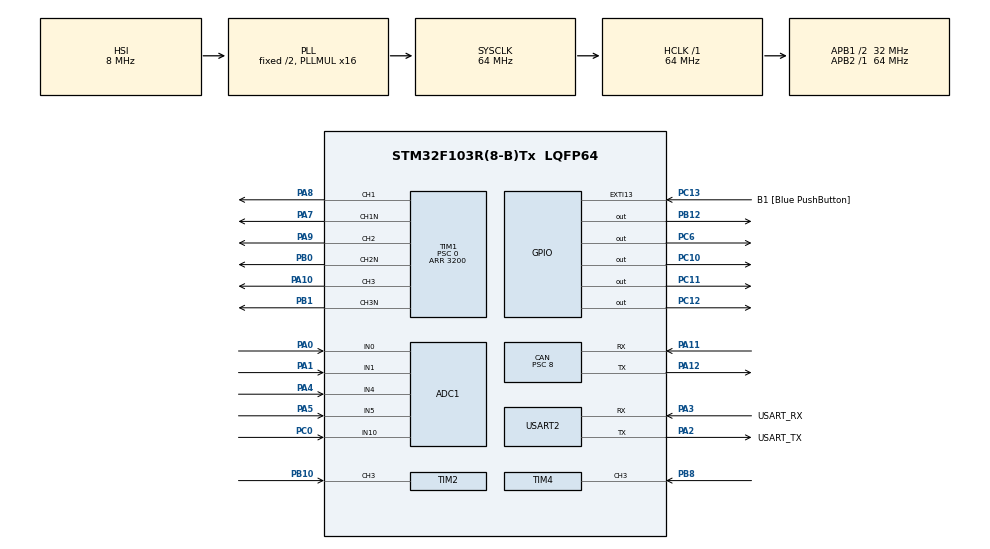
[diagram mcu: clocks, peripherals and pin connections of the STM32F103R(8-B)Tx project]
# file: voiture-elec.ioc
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ADC1.Channel-74\#ChannelRegularConversion=ADC_CHANNEL_0
ADC1.Channel-75\#ChannelRegularConversion=ADC_CHANNEL_1
ADC1.Channel-76\#ChannelRegularConversion=ADC_CHANNEL_4
ADC1.Channel-77\#ChannelRegularConversion=ADC_CHANNEL_5
ADC1.Channel-78\#ChannelRegularConversion=ADC_CHANNEL_10
ADC1.ContinuousConvMode=ENABLE
ADC1.DataAlign=ADC_DATAALIGN_RIGHT
ADC1.DiscontinuousConvMode=DISABLE
ADC1.EnableAnalogWatchDog=false
ADC1.EnableRegularConversion=ENABLE
ADC1.ExternalTrigConv=ADC_SOFTWARE_START
ADC1.InjNumberOfConversion=0
ADC1.NbrOfConversion=5
ADC1.NbrOfConversionFlag=1
ADC1.Rank-74\#ChannelRegularConversion=1
ADC1.Rank-75\#ChannelRegularConversion=2
ADC1.Rank-76\#ChannelRegularConversion=3
ADC1.Rank-77\#ChannelRegularConversion=4
ADC1.Rank-78\#ChannelRegularConversion=5
ADC1.SamplingTime-74\#ChannelRegularConversion=ADC_SAMPLETIME_1CYCLE_5
ADC1.SamplingTime-75\#ChannelRegularConversion=ADC_SAMPLETIME_1CYCLE_5
ADC1.SamplingTime-76\#ChannelRegularConversion=ADC_SAMPLETIME_1CYCLE_5
ADC1.SamplingTime-77\#ChannelRegularConversion=ADC_SAMPLETIME_1CYCLE_5
ADC1.SamplingTime-78\#ChannelRegularConversion=ADC_SAMPLETIME_1CYCLE_5
ADC1.ScanConvMode=ADC_SCAN_ENABLE
ADC1.master=1
CAN.BS1=CAN_BS1_7TQ
CAN.BS2=CAN_BS2_2TQ
CAN.CalculateTimeBit=2500
CAN.CalculateTimeQuantum=250.0
CAN.Prescaler=8
Dma.ADC1.0.Direction=DMA_PERIPH_TO_MEMORY
Dma.ADC1.0.Instance=DMA1_Channel1
Dma.ADC1.0.MemDataAlignment=DMA_MDATAALIGN_WORD
Dma.ADC1.0.MemInc=DMA_MINC_ENABLE
Dma.ADC1.0.Mode=DMA_CIRCULAR
Dma.ADC1.0.PeriphDataAlignment=DMA_PDATAALIGN_WORD
Dma.ADC1.0.PeriphInc=DMA_PINC_DISABLE
Dma.ADC1.0.Priority=DMA_PRIORITY_LOW
Dma.Request0=ADC1
Mcu.Family=STM32F1
Mcu.Name=STM32F103R(8-B)Tx
Mcu.Package=LQFP64
NVIC.DMA1_Channel1_IRQn=true\:0\:0\:false\:false\:true\:true
NVIC.PriorityGroup=NVIC_PRIORITYGROUP_4
NVIC.TIM2_IRQn=true\:0\:0\:false\:false\:true\:true
NVIC.TIM4_IRQn=true\:0\:0\:false\:false\:true\:true
NVIC.USB_LP_CAN1_RX0_IRQn=true\:0\:0\:false\:false\:true\:true
PA0-WKUP.Signal=ADCx_IN0
PA1.Signal=ADCx_IN1
PA10.Signal=S_TIM1_CH3
PA11.Mode=Master
PA11.Signal=CAN_RX
PA12.Mode=Master
PA12.Signal=CAN_TX
PA13.GPIO_Label=TMS
PA13.Mode=Serial_Wire
PA13.Signal=SYS_JTMS-SWDIO
PA14.GPIO_Label=TCK
PA14.Mode=Serial_Wire
PA14.Signal=SYS_JTCK-SWCLK
PA2.GPIO_Label=USART_TX
PA2.GPIO_Mode=GPIO_MODE_AF_PP
PA2.GPIO_PuPd=GPIO_NOPULL
PA2.GPIO_Speed=GPIO_SPEED_FREQ_LOW
PA2.Mode=Asynchronous
PA2.Signal=USART2_TX
PA3.GPIO_Label=USART_RX
PA3.GPIO_Mode=GPIO_MODE_AF_PP
PA3.GPIO_PuPd=GPIO_NOPULL
PA3.GPIO_Speed=GPIO_SPEED_FREQ_LOW
PA3.Mode=Asynchronous
PA3.Signal=USART2_RX
PA4.Signal=ADCx_IN4
PA5.Signal=ADCx_IN5
PA7.Mode=PWM Generation1 CH1 CH1N
PA7.Signal=TIM1_CH1N
PA8.Signal=S_TIM1_CH1
PA9.Signal=S_TIM1_CH2
PB0.Mode=PWM Generation2 CH2 CH2N
PB0.Signal=TIM1_CH2N
PB1.Mode=PWM Generation3 CH3 CH3N
PB1.Signal=TIM1_CH3N
PB10.Signal=S_TIM2_CH3
PB12.Signal=GPIO_Output
PB3.GPIO_Label=SWO
PB3.Signal=SYS_JTDO-TRACESWO
PB8.Signal=S_TIM4_CH3
PC0.Signal=ADCx_IN10
PC10.Signal=GPIO_Output
PC11.Signal=GPIO_Output
PC12.Signal=GPIO_Output
PC13-TAMPER-RTC.GPIO_Label=B1 [Blue PushButton]
PC13-TAMPER-RTC.GPIO_PuPd=GPIO_NOPULL
PC13-TAMPER-RTC.Signal=GPXTI13
PC14-OSC32_IN.Mode=LSE-External-Oscillator
PC14-OSC32_IN.Signal=RCC_OSC32_IN
PC15-OSC32_OUT.Mode=LSE-External-Oscillator
PC15-OSC32_OUT.Signal=RCC_OSC32_OUT
PC6.Signal=GPIO_Output
PD0-OSC_IN.Mode=HSE-External-Clock-Source
PD0-OSC_IN.Signal=RCC_OSC_IN
PD1-OSC_OUT.Mode=HSE-External-Clock-Source
PD1-OSC_OUT.Signal=RCC_OSC_OUT
ProjectManager.HeapSize=0x200
ProjectManager.StackSize=0x400
ProjectManager.TargetToolchain=MDK-ARM V5
RCC.ADCPresc=RCC_ADCPCLK2_DIV8
RCC.AHBFreq_Value=64000000
RCC.APB1CLKDivider=RCC_HCLK_DIV2
RCC.APB1Freq_Value=32000000
RCC.APB1TimFreq_Value=64000000
RCC.APB2Freq_Value=64000000
RCC.APB2TimFreq_Value=64000000
RCC.HCLKFreq_Value=64000000
RCC.PLLMUL=RCC_PLL_MUL16
RCC.RTCClockSelection=RCC_RTCCLKSOURCE_LSE
RCC.SYSCLKFreq_VALUE=64000000
RCC.SYSCLKSource=RCC_SYSCLKSOURCE_PLLCLK
RCC.USBFreq_Value=64000000
SH.ADCx_IN0.0=ADC1_IN0,IN0
SH.ADCx_IN1.0=ADC1_IN1,IN1
SH.ADCx_IN10.0=ADC1_IN10,IN10
SH.ADCx_IN4.0=ADC1_IN4,IN4
SH.ADCx_IN5.0=ADC1_IN5,IN5
SH.S_TIM1_CH1.0=TIM1_CH1,PWM Generation1 CH1 CH1N
SH.S_TIM1_CH2.0=TIM1_CH2,PWM Generation2 CH2 CH2N
SH.S_TIM1_CH3.0=TIM1_CH3,PWM Generation3 CH3 CH3N
SH.S_TIM2_CH3.0=TIM2_CH3,Input_Capture3_from_TI3
SH.S_TIM4_CH3.0=TIM4_CH3,Input_Capture3_from_TI3
TIM1.Channel-PWM\ Generation1\ CH1\ CH1N=TIM_CHANNEL_1
TIM1.Channel-PWM\ Generation2\ CH2\ CH2N=TIM_CHANNEL_2
TIM1.Channel-PWM\ Generation3\ CH3\ CH3N=TIM_CHANNEL_3
TIM1.OCNPolarity_1=TIM_OCNPOLARITY_HIGH
TIM1.Period=3200
TIM1.Prescaler=0
TIM1.Pulse-PWM\ Generation1\ CH1\ CH1N=320
TIM1.Pulse-PWM\ Generation2\ CH2\ CH2N=1600
TIM1.Pulse-PWM\ Generation3\ CH3\ CH3N=1600
TIM1.RepetitionCounter=0
TIM2.Channel-Input_Capture3_from_TI3=TIM_CHANNEL_3
TIM2.Period=65535
TIM2.Prescaler=6399
TIM4.Channel-Input_Capture3_from_TI3=TIM_CHANNEL_3
TIM4.Period=65535
TIM4.Prescaler=6399
USART2.VirtualMode=VM_ASYNC
VP_TIM2_VS_ClockSourceINT.Mode=Internal
VP_TIM4_VS_ClockSourceINT.Mode=Internal
board=NUCLEO-F103RB

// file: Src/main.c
/**
  ******************************************************************************
  * @file           : main.c
  * @brief          : Main program body
  ******************************************************************************
  ** This notice applies to any and all portions of this file
  * that are not between comment pairs USER CODE BEGIN and
  * USER CODE END. Other portions of this file, whether
  * inserted by the user or by software development tools
  * are owned by their respective copyright owners.
  *
  * COPYRIGHT(c) 2018 STMicroelectronics
  *
  * Redistribution and use in source and binary forms, with or without modification,
  * are permitted provided that the following conditions are met:
  *   1. Redistributions of source code must retain the above copyright notice,
  *      this list of conditions and the following disclaimer.
  *   2. Redistributions in binary form must reproduce the above copyright notice,
  *      this list of conditions and the following disclaimer in the documentation
  *      and/or other materials provided with the distribution.
  *   3. Neither the name of STMicroelectronics nor the names of its contributors
  *      may be used to endorse or promote products derived from this software
  *      without specific prior written permission.
  *
  * THIS SOFTWARE IS PROVIDED BY THE COPYRIGHT HOLDERS AND CONTRIBUTORS "AS IS"
  * AND ANY EXPRESS OR IMPLIED WARRANTIES, INCLUDING, BUT NOT LIMITED TO, THE
  * IMPLIED WARRANTIES OF MERCHANTABILITY AND FITNESS FOR A PARTICULAR PURPOSE ARE
  * DISCLAIMED. IN NO EVENT SHALL THE COPYRIGHT HOLDER OR CONTRIBUTORS BE LIABLE
  * FOR ANY DIRECT, INDIRECT, INCIDENTAL, SPECIAL, EXEMPLARY, OR CONSEQUENTIAL
  * DAMAGES (INCLUDING, BUT NOT LIMITED TO, PROCUREMENT OF SUBSTITUTE GOODS OR
  * SERVICES; LOSS OF USE, DATA, OR PROFITS; OR BUSINESS INTERRUPTION) HOWEVER
  * CAUSED AND ON ANY THEORY OF LIABILITY, WHETHER IN CONTRACT, STRICT LIABILITY,
  * OR TORT (INCLUDING NEGLIGENCE OR OTHERWISE) ARISING IN ANY WAY OUT OF THE USE
  * OF THIS SOFTWARE, EVEN IF ADVISED OF THE POSSIBILITY OF SUCH DAMAGE.
  *
  ******************************************************************************
  */
#include "main.h"
#include "stm32f1xx_hal.h"
#include "adc.h"
#include "can.h"
#include "dma.h"
#include "tim.h"
#include "usart.h"
#include "gpio.h"

/* USER CODE BEGIN PV */
/* Private variables ---------------------------------------------------------*/
int UPDATE_CMD_FLAG = 0;
int SEND_CAN = 0;
int UPDATE_STE_INFO = 0;

/* Tous ADC sur 12 bits pleine echelle 3.3V
	ADCBUF[0] mesure batterie
	ADCBUF[1] angle volant
	ADCBUF[2] I moteur arriere gauche
	ADCBUF[3] I moteur arriere droit
	ADCBUF[4] I moteur avant
*/
uint32_t ADCBUF[5];

int cmdLRM = 50, cmdRRM = 50, cmdSFM = 50; // 0 à 100 Moteur gauche, droit, avant

uint32_t VMG_mes = 0, VMD_mes = 0, per_vitesseG = 0, per_vitesseD = 0;
//int	volatile i=0;
/* Enable Moteurs */
GPIO_PinState en_MARG = GPIO_PIN_RESET;
GPIO_PinState en_MARD = GPIO_PIN_RESET;
GPIO_PinState en_MAV  = GPIO_PIN_RESET;
/*********************************Informations rotation volant********************************/
/* mesure angulaire potentiometre amplitudes volant +/- 17 % environ autour du centre        */
/* PWM = 0.5 (50) % arret, PWM = 0.4 tourne gauche, PWM = 0.6 tourne droite                  */
/*butees potar  volant :                                                                         */
//#define gauche_volant 2446 /*2395*/
//#define centre_volant (gauche_volant+droite_volant)/2/*2056*/
//#define droite_volant 1840/*1825*/

CanTxMsgTypeDef TxMessage;
CanRxMsgTypeDef RxMessage;
uint8_t data[8] = {0x11, 0x22, 0x33, 0x44, 0x55, 0x66, 0x77, 0x88};

extern CAN_HandleTypeDef hcan;

/* USER CODE END PV */

void SystemClock_Config(void);

/* USER CODE BEGIN PFP */
/* Private function prototypes -----------------------------------------------*/

/* USER CODE END PFP */

/* USER CODE BEGIN 0 */
void HAL_TIM_PeriodElapsedCallback(TIM_HandleTypeDef *htim){
	if (htim->Instance==TIM2)
	{
		VMG_mes = 0;
	} else if (htim->Instance==TIM4){
		VMD_mes = 0;
	}
}

void HAL_TIM_IC_CaptureCallback(TIM_HandleTypeDef *htim)
{
	/***               Mesures des vitesses moteurs                      ***
	* Féquences entrées micro, sorties capteurs, entre environ 2hz à 80 hz *
	* Timer 2,4 sur 16 bits (65535)cp ->compte période 9999 pour 1s (1Hz)  *
	*                               ->compte période 1000 pour 0.1s (10Hz) *
	* Rapport réduction 2279/64 ~ 36 impulsions/tour de roue               *
	* unite de 0.01*tr/mn = 168495/ cp                                     *
	*/
	if (htim->Instance==TIM2)
	{
		per_vitesseG =	HAL_TIM_ReadCapturedValue (&htim2,TIM_CHANNEL_3);//PB10
		VMG_mes = 1684949/per_vitesseG ;// X 0.01 tr/mn

		__HAL_TIM_SET_COUNTER(&htim2,0);// mise a zero compteur apres capture
	}
	if (htim->Instance==TIM4)
	{
		per_vitesseD =	HAL_TIM_ReadCapturedValue (&htim4,TIM_CHANNEL_3);//PB8
		VMD_mes = 1684949/per_vitesseD ;// X 0.01 tr/mn

		__HAL_TIM_SET_COUNTER(&htim4,0);// mise a zero compteur apres capture
	}
}

/* USER CODE END 0 */

int main(void)
{
  /* USER CODE BEGIN 1 */
	hcan.pTxMsg = &TxMessage;
	hcan.pRxMsg = &RxMessage;
  /* USER CODE END 1 */

  /* MCU Configuration----------------------------------------------------------*/

  /* Reset of all peripherals, Initializes the Flash interface and the Systick. */
  HAL_Init();

  /* Configure the system clock */
  SystemClock_Config();

  /* Initialize all configured peripherals */
  MX_GPIO_Init();
  MX_DMA_Init();
  MX_USART2_UART_Init();
  MX_TIM1_Init();
  MX_TIM2_Init();
  MX_TIM4_Init();
  MX_ADC1_Init();
  MX_CAN_Init();
  /* USER CODE BEGIN 2 */

  /* Initialisations */

	/*gestion systic 1Khz*/

	//uint32_t usTicks = HAL_RCC_GetSysClockFreq() / 1000;
	// HAL_SYSTICK_Config(usTicks);

  /* PWM MOTEURS */
	HAL_TIM_PWM_Start(&htim1, TIM_CHANNEL_1);
	HAL_TIM_PWM_Start(&htim1, TIM_CHANNEL_2);
	HAL_TIM_PWM_Start(&htim1, TIM_CHANNEL_3);

	//Sorties complementaires
	HAL_TIMEx_OCN_Start(&htim1,TIM_CHANNEL_1);
	HAL_TIMEx_OCN_Start(&htim1,TIM_CHANNEL_2);
	HAL_TIMEx_OCN_Start(&htim1,TIM_CHANNEL_3);
	/*Vitesse*/
	__HAL_TIM_ENABLE_IT(&htim2, TIM_IT_UPDATE);
	__HAL_TIM_ENABLE_IT(&htim4, TIM_IT_UPDATE);
  HAL_TIM_IC_Start_IT (&htim2,TIM_CHANNEL_3);//autorisation IT capture CH3
  HAL_TIM_IC_Start_IT (&htim4,TIM_CHANNEL_3);//autorisation IT capture CH3

  /* ADC1 */
  HAL_ADC_Start_DMA (&hadc1,ADCBUF,5);

	/* CAN */
	CAN_FilterConfig();
	__HAL_CAN_ENABLE_IT(&hcan, CAN_IT_FMP0);

	init_steering();
	/* USER CODE END 2 */

  /* Infinite loop */
  while (1)
  {

  /* USER CODE BEGIN 3 */

		/* Update motors command*/
		if (UPDATE_CMD_FLAG){
			UPDATE_CMD_FLAG = 0;

			wheels_set_speed(en_MARD, en_MARG, cmdRRM, cmdLRM);
			position_cmd(en_MAV, cmdSFM);
		}

		/* CAN */
		// Envoi des mesures
		if (SEND_CAN){
			SEND_CAN = 0;
			data[0] = (ADCBUF[1] >> 8) & 0xFF; // Vol_mes
			data[1] = ADCBUF[1] & 0xFF;

			data[2] = (ADCBUF[0] >> 8) & 0xFF; // Bat_mes
			data[3] = ADCBUF[0] & 0xFF;

			data[4] = (VMG_mes >> 8) & 0xFF; // VMG_mes
			data[5] = VMG_mes & 0xFF;

			data[6] = (VMD_mes >> 8) & 0xFF; // VMD_mes
			data[7] = VMD_mes & 0xFF;

			CAN_Send(data, CAN_ID_MS);
		}

		if(UPDATE_STE_INFO){
			UPDATE_STE_INFO = 0;
			STEE_setCanMess(data);
			CAN_Send(data, 0x300);
		}
  }
  /* USER CODE END 3 */

}

void SystemClock_Config(void)
{

  RCC_OscInitTypeDef RCC_OscInitStruct;
  RCC_ClkInitTypeDef RCC_ClkInitStruct;
  RCC_PeriphCLKInitTypeDef PeriphClkInit;

    /**Initializes the CPU, AHB and APB busses clocks
    */
  RCC_OscInitStruct.OscillatorType = RCC_OSCILLATORTYPE_HSI;
  RCC_OscInitStruct.HSIState = RCC_HSI_ON;
  RCC_OscInitStruct.HSICalibrationValue = 16;
  RCC_OscInitStruct.PLL.PLLState = RCC_PLL_ON;
  RCC_OscInitStruct.PLL.PLLSource = RCC_PLLSOURCE_HSI_DIV2;
  RCC_OscInitStruct.PLL.PLLMUL = RCC_PLL_MUL16;
  if (HAL_RCC_OscConfig(&RCC_OscInitStruct) != HAL_OK)
  {
    _Error_Handler(__FILE__, __LINE__);
  }

    /**Initializes the CPU, AHB and APB busses clocks
    */
  RCC_ClkInitStruct.ClockType = RCC_CLOCKTYPE_HCLK|RCC_CLOCKTYPE_SYSCLK
                              |RCC_CLOCKTYPE_PCLK1|RCC_CLOCKTYPE_PCLK2;
  RCC_ClkInitStruct.SYSCLKSource = RCC_SYSCLKSOURCE_PLLCLK;
  RCC_ClkInitStruct.AHBCLKDivider = RCC_SYSCLK_DIV1;
  RCC_ClkInitStruct.APB1CLKDivider = RCC_HCLK_DIV2;
  RCC_ClkInitStruct.APB2CLKDivider = RCC_HCLK_DIV1;

  if (HAL_RCC_ClockConfig(&RCC_ClkInitStruct, FLASH_LATENCY_2) != HAL_OK)
  {
    _Error_Handler(__FILE__, __LINE__);
  }

  PeriphClkInit.PeriphClockSelection = RCC_PERIPHCLK_ADC;
  PeriphClkInit.AdcClockSelection = RCC_ADCPCLK2_DIV8;
  if (HAL_RCCEx_PeriphCLKConfig(&PeriphClkInit) != HAL_OK)
  {
    _Error_Handler(__FILE__, __LINE__);
  }

    /**Configure the Systick interrupt time
    */
  HAL_SYSTICK_Config(HAL_RCC_GetHCLKFreq()/1000);

    /**Configure the Systick
    */
  HAL_SYSTICK_CLKSourceConfig(SYSTICK_CLKSOURCE_HCLK);

  /* SysTick_IRQn interrupt configuration */
  HAL_NVIC_SetPriority(SysTick_IRQn, 0, 0);
}

void _Error_Handler(char *file, int line)
{
  /* USER CODE BEGIN Error_Handler_Debug */
  /* User can add his own implementation to report the HAL error return state */
  /*while(1)
  {
  }*/
  /* USER CODE END Error_Handler_Debug */
}

/************************ (C) COPYRIGHT STMicroelectronics *****END OF FILE****/
